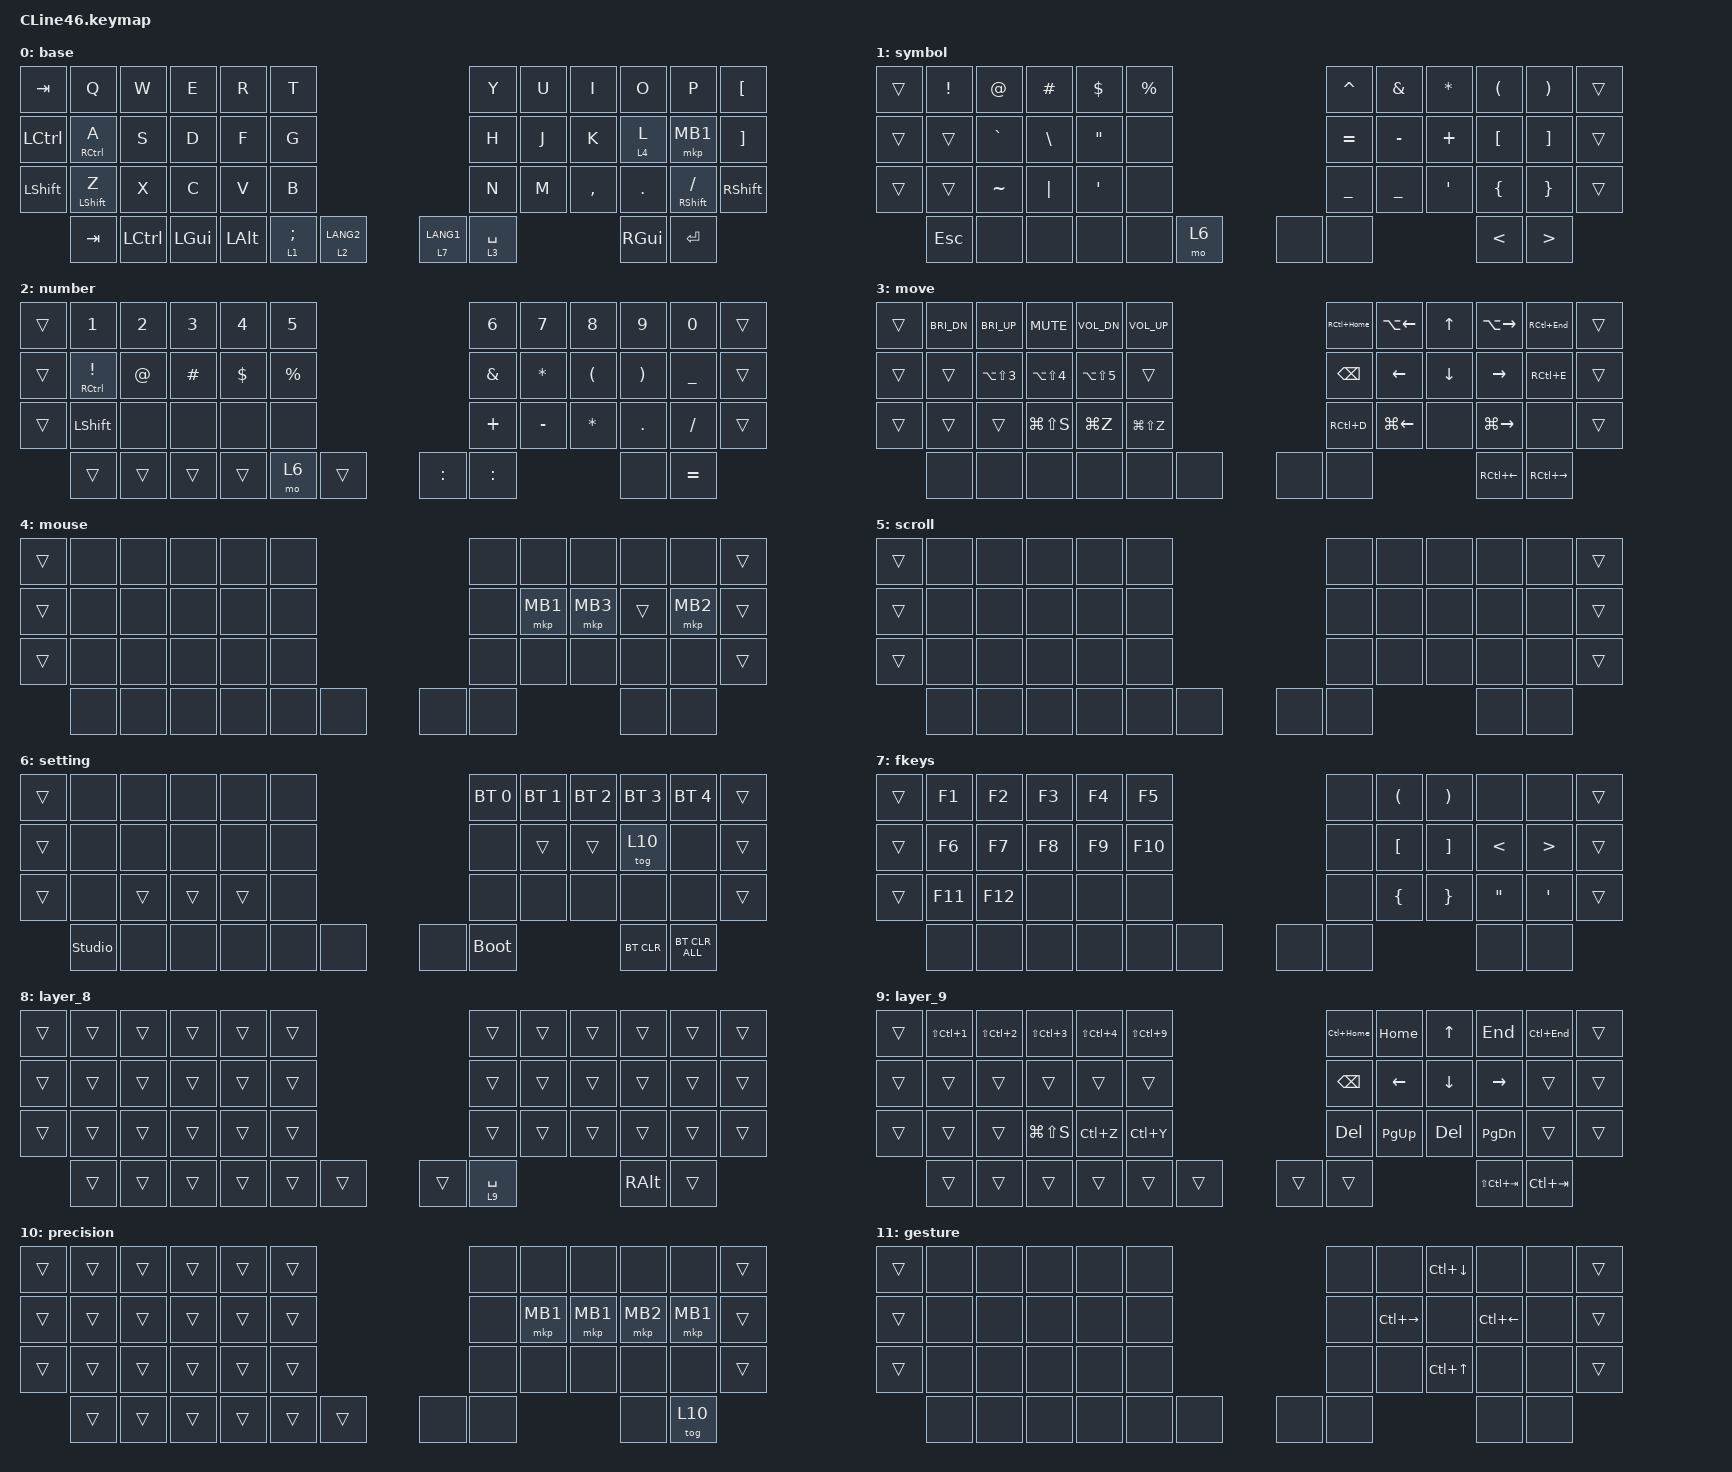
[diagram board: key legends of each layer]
#include <input/processors.dtsi>
#include <dt-bindings/zmk/input_transform.h>
#include <zephyr/dt-bindings/input/input-event-codes.h>
#include <behaviors.dtsi>
#include <behaviors/runtime_macro.dtsi>
#include <dt-bindings/zmk/bt.h>
#include <dt-bindings/zmk/keys.h>
#include <dt-bindings/zmk/pointing.h>

&mt {
    flavor = "balanced";
    quick-tap-ms = <0>;
};

/ {
    combos {
        compatible = "zmk,combos";

        tab {
            bindings = <&kp TAB>;
            key-positions = <11 12>;
        };

        shift_tab {
            bindings = <&kp LS(TAB)>;
            key-positions = <12 13>;
        };

        combo_fkeys {
            bindings = <&mo 7>;
            key-positions = <41 42>;
        };
        combo_mb2 {
            bindings = <&mkp MB2>;
            key-positions = <21 22>;
        };
        combo_mb3 {
            bindings = <&mkp MB3>;
            key-positions = <20 22>;
        };
        combo_scroll {
            bindings = <&mo 5>;
            key-positions = <20 21>;
        };
        combo_gesture {
            bindings = <&mo 11>;
            key-positions = <8 9>;
        };
        combo_boot {
            bindings = <&bootloader>;
            key-positions = <5 9 29>;
        };
    };

    keymap {
        compatible = "zmk,keymap";

        base {
            bindings = <
&kp TAB     &kp Q           &kp W           &kp E           &kp R           &kp T           &kp Y         &kp U          &kp I         &kp O          &kp P            &kp LEFT_BRACKET
&kp LCTRL   &mt RCTRL A     &kp S           &kp D           &kp F           &kp G           &kp H         &kp J          &kp K         &lt 4 L        &mkp MB1         &kp RIGHT_BRACKET
&kp LSHIFT  &mt LSHIFT Z    &kp X           &kp C           &kp V           &kp B           &kp N         &kp M          &kp COMMA     &kp DOT        &mt RSHIFT FSLH  &kp RSHIFT
       &kp TAB         &kp LCTRL  &kp LGUI  &kp LALT  &lt 1 SEMI  &lt 2 LANG2      &lt 7 LANG1  &lt 3 SPACE  &kp RGUI         &kp ENTER
            >;
        };

        symbol {
            bindings = <
&trans      &kp EXCL        &kp AT          &kp HASH        &kp DLLR        &kp PRCNT       &kp CARET     &kp AMPS       &kp STAR      &kp LPAR       &kp RPAR         &trans
&trans      &trans          &kp GRAVE       &kp BSLH        &kp DQT         &none           &kp EQUAL     &kp MINUS      &kp PLUS      &kp LBKT       &kp RBKT         &trans
&trans      &trans          &kp TILDE       &kp PIPE        &kp SQT         &none           &kp UNDER     &kp UNDER      &kp SQT       &kp LBRC       &kp RBRC         &trans
       &kp ESC         &none      &none     &none     &none       &mo 6            &none        &none        &kp LT           &kp GT
            >;
        };

        number {
            bindings = <
&trans      &kp N1          &kp N2          &kp N3          &kp N4          &kp N5          &kp N6        &kp N7         &kp N8        &kp N9         &kp N0           &trans
&trans      &mt RCTRL EXCL  &kp AT          &kp HASH        &kp DLLR        &kp PRCNT       &kp AMPS      &kp STAR       &kp LPAR      &kp RPAR       &kp UNDER        &trans
&trans      &kp LSHIFT      &none           &none           &none           &none           &kp PLUS      &kp MINUS      &kp STAR      &kp DOT        &kp FSLH         &trans
       &trans          &trans     &trans    &trans    &mo 6       &trans           &kp COLON    &kp COLON    &none            &kp EQUAL
            >;
        };

        move {
            bindings = <
&trans      &kp C_BRI_DN    &kp C_BRI_UP    &kp C_MUTE      &kp C_VOL_DN    &kp C_VOL_UP    &kp RC(HOME)  &kp LA(LEFT)   &kp UP        &kp LA(RIGHT)  &kp RC(END)      &trans
&trans      &trans          &kp LA(LS(N3))  &kp LA(LS(N4))  &kp LA(LS(N5))  &trans          &kp BSPC      &kp LEFT       &kp DOWN      &kp RIGHT      &kp RC(E)        &trans
&trans      &trans          &trans          &kp LG(LS(S))   &kp LG(Z)       &kp LG(LS(Z))   &kp RC(D)     &kp LG(LEFT)   &none         &kp LG(RIGHT)  &none            &trans
       &none           &none      &none     &none     &none       &none            &none        &none        &kp RC(LEFT)     &kp RC(RIGHT)
            >;
        };

        mouse {
            bindings = <
&trans      &none           &none           &none           &none           &none           &none         &none          &none         &none          &none            &trans
&trans      &none           &none           &none           &none           &none           &none         &mkp MB1       &mkp MB3      &trans         &mkp MB2         &trans
&trans      &none           &none           &none           &none           &none           &none         &none          &none         &none          &none            &trans
       &none           &none      &none     &none     &none       &none            &none        &none        &none            &none
            >;
        };

        scroll {
            bindings = <
&trans      &none           &none           &none           &none           &none           &none         &none          &none         &none          &none            &trans
&trans      &none           &none           &none           &none           &none           &none         &none          &none         &none          &none            &trans
&trans      &none           &none           &none           &none           &none           &none         &none          &none         &none          &none            &trans
       &none           &none      &none     &none     &none       &none            &none        &none        &none            &none
            >;
        };

        setting {
            bindings = <
&trans      &none           &none           &none           &none           &none           &bt BT_SEL 0  &bt BT_SEL 1   &bt BT_SEL 2  &bt BT_SEL 3   &bt BT_SEL 4     &trans
&trans      &none           &none           &none           &none           &none           &none         &trans         &trans        &tog 10        &none            &trans
&trans      &none           &trans          &trans          &trans          &none           &none         &none          &none         &none          &none            &trans
       &studio_unlock  &none      &none     &none     &none       &none            &none        &bootloader  &bt BT_CLR       &bt BT_CLR_ALL
            >;
        };

        fkeys {
            bindings = <
&trans      &kp F1          &kp F2          &kp F3          &kp F4          &kp F5          &none         &kp LPAR       &kp RPAR      &none          &none            &trans
&trans      &kp F6          &kp F7          &kp F8          &kp F9          &kp F10         &none         &kp LBKT       &kp RBKT      &kp LT         &kp GT           &trans
&trans      &kp F11         &kp F12         &none           &none           &none           &none         &kp LBRC       &kp RBRC      &kp DQT        &kp SQT          &trans
       &none           &none      &none     &none     &none       &none            &none        &none        &none            &none
            >;
        };

        layer_8 {
            bindings = <
&trans      &trans          &trans          &trans          &trans          &trans          &trans        &trans         &trans        &trans         &trans           &trans
&trans      &trans          &trans          &trans          &trans          &trans          &trans        &trans         &trans        &trans         &trans           &trans
&trans      &trans          &trans          &trans          &trans          &trans          &trans        &trans         &trans        &trans         &trans           &trans
       &trans          &trans     &trans    &trans    &trans      &trans           &trans       &lt 9 SPACE  &kp RALT         &trans
            >;
        };

        layer_9 {
            bindings = <
&trans      &kp LS(LC(N1))  &kp LS(LC(N2))  &kp LS(LC(N3))  &kp LS(LC(N4))  &kp LS(LC(N9))  &kp LC(HOME)  &kp HOME       &kp UP        &kp END        &kp LC(END)      &trans
&trans      &trans          &trans          &trans          &trans          &trans          &kp BSPC      &kp LEFT       &kp DOWN      &kp RIGHT      &trans           &trans
&trans      &trans          &trans          &kp LG(LS(S))   &kp LC(Z)       &kp LC(Y)       &kp DEL       &kp PG_UP      &kp DEL       &kp PG_DN      &trans           &trans
       &trans          &trans     &trans    &trans    &trans      &trans           &trans       &trans       &kp LS(LC(TAB))  &kp LC(TAB)
            >;
        };

        precision {
            bindings = <
&trans      &trans          &trans          &trans          &trans          &trans          &none         &none          &none         &none          &none            &trans
&trans      &trans          &trans          &trans          &trans          &trans          &none         &mkp MB1       &mkp MB1      &mkp MB2       &mkp MB1         &trans
&trans      &trans          &trans          &trans          &trans          &trans          &none         &none          &none         &none          &none            &trans
       &trans          &trans     &trans    &trans    &trans      &trans           &none        &none        &none            &tog 10
            >;
        };

        gesture {
            bindings = <
&trans      &none           &none           &none           &none           &none           &none         &none          &kp LC(DOWN)  &none          &none            &trans
&trans      &none           &none           &none           &none           &none           &none         &kp LC(RIGHT)  &none         &kp LC(LEFT)   &none            &trans
&trans      &none           &none           &none           &none           &none           &none         &none          &kp LC(UP)    &none          &none            &trans
       &none           &none      &none     &none     &none       &none            &none        &none        &none            &none
            >;
        };
    };
};
